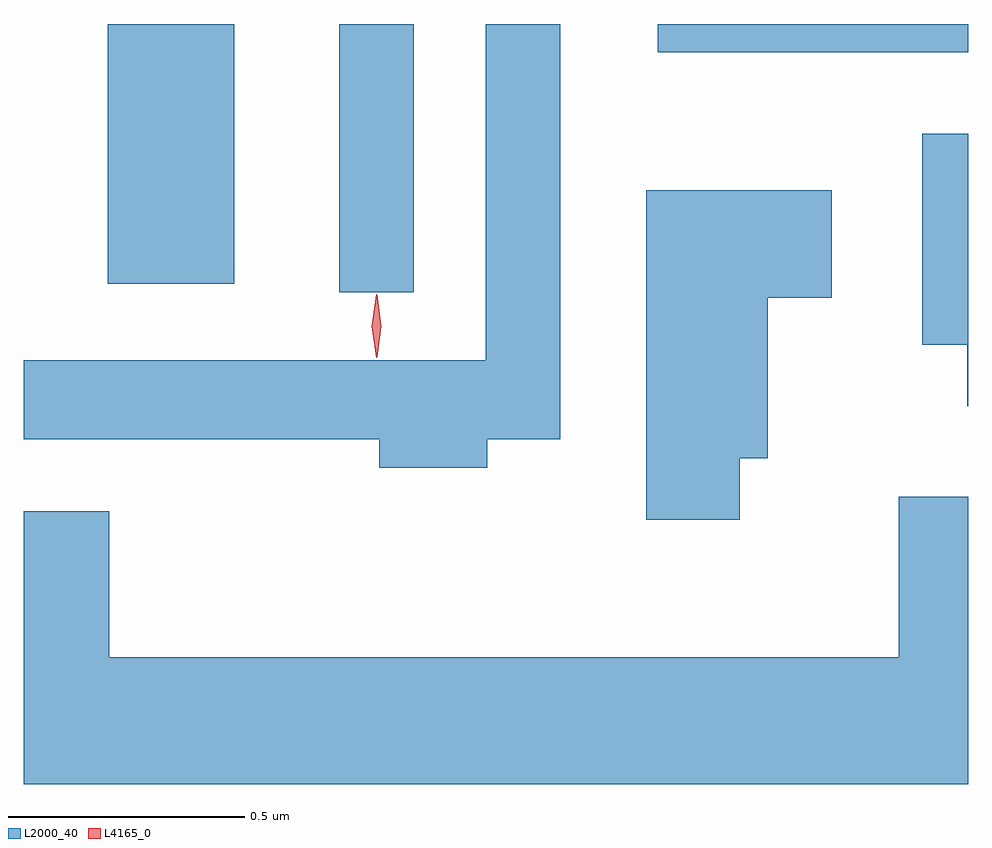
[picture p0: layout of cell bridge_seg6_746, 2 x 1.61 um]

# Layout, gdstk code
import gdstk
lib = gdstk.Library(unit=1e-6, precision=1e-09)
def R(c, l, rs):  # rectangles x0, y0, x1, y1
    for r in rs: c.add(gdstk.rectangle(r[:2], r[2:], *l))
def P(c, l, *ps):  # polygons
    for p in ps: c.add(gdstk.Polygon(p, *l))
L2000_40 = (2000, 40)
L4165_0 = (4165, 0)

bridge_seg6_746 = lib.new_cell('bridge_seg6_746')
R(bridge_seg6_746, L2000_40, [(340.816,1588.818,340.974,1589.386), (340.326,1588.836,340.594,1589.386), (341.491,1589.326,342.148,1589.386)])
P(bridge_seg6_746, L2000_40, [(341.129,1588.506),(341.284,1588.506),(341.284,1589.386),(341.126,1589.386),(341.126,1588.674),(340.148,1588.674),(340.148,1588.506),(340.901,1588.506),(340.901,1588.446),(341.129,1588.446)],
  [(342.148,1589.154),(342.051,1589.154),(342.051,1588.706),(342.146,1588.706),(342.146,1588.576),(342.148,1588.576)],
  [(341.664,1588.466),(341.724,1588.466),(341.724,1588.806),(341.859,1588.806),(341.859,1589.034),(341.466,1589.034),(341.466,1588.336),(341.664,1588.336)],
  [(342.148,1588.384),(342.001,1588.384),(342.001,1588.044),(340.329,1588.044),(340.329,1588.354),(340.148,1588.354),(340.148,1587.776),(342.148,1587.776)])
P(bridge_seg6_746, L4165_0, [(340.895,1588.679),(340.894,1588.68),(340.885,1588.746),(340.894,1588.812),(340.895,1588.813),(340.896,1588.812),(340.905,1588.746),(340.896,1588.68)])

lib.write_gds('bridge_seg6_746.gds')
